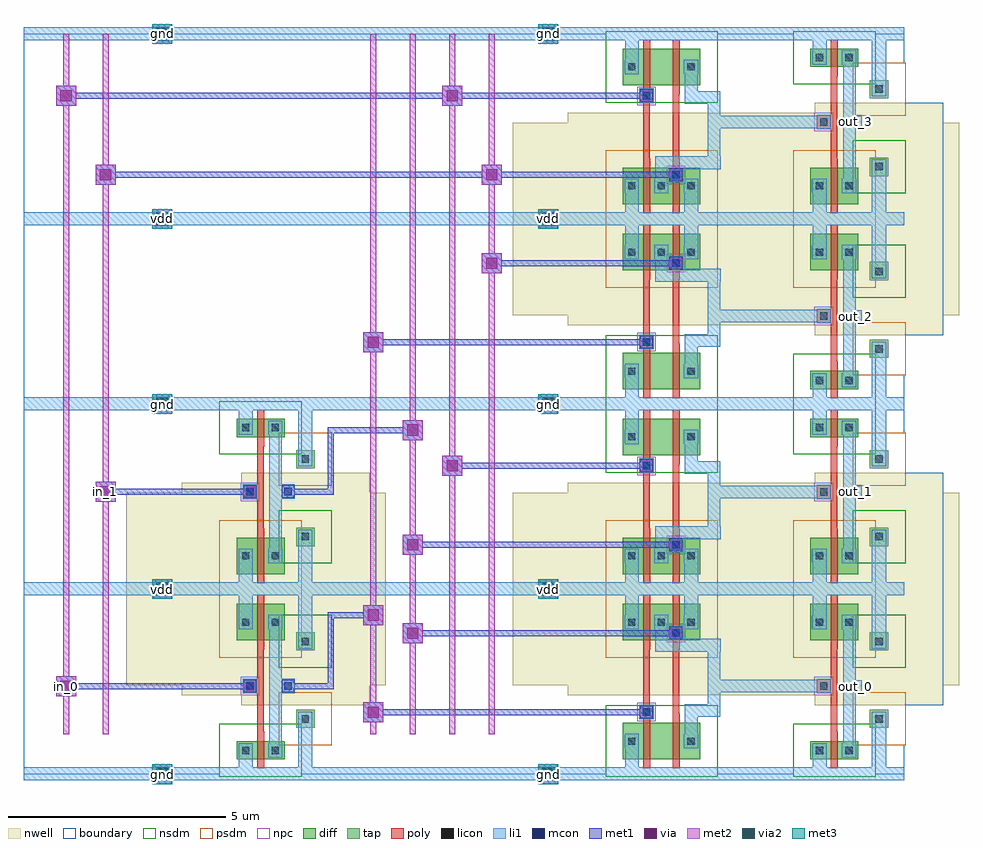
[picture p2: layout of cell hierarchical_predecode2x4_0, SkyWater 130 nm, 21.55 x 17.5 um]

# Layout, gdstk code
import gdstk
lib = gdstk.Library(unit=1e-6, precision=1e-09)
def R(c, l, rs):  # rectangles x0, y0, x1, y1
    for r in rs: c.add(gdstk.rectangle(r[:2], r[2:], *l))
def A(c, l, x, y, w, h, nx, ny, dx, dy):  # array of equal rectangles
    R(c, l, [(x+i*dx, y+j*dy, x+i*dx+w, y+j*dy+h) for i in range(nx) for j in range(ny)])
nwell = (64, 20)
diff = (65, 20)
tap = (65, 44)
poly = (66, 20)
licon = (66, 44)
li1 = (67, 20)
mcon = (67, 44)
met1 = (68, 20)
via = (68, 44)
met2 = (69, 20)
via2 = (69, 44)
met3 = (70, 20)
nsdm = (93, 44)
psdm = (94, 20)
npc = (95, 20)
boundary = (235, 4)

contact_12 = lib.new_cell('contact_12')
R(contact_12, nwell, [(-1.27,-1.27,1.69,1.69)])
R(contact_12, diff, [(0,0,0.42,0.42)])
R(contact_12, licon, [(0.12,0.12,0.29,0.29)])
R(contact_12, li1, [(0.04,0.04,0.37,0.37)])
R(contact_12, psdm, [(-0.4,-0.4,0.82,0.82)])
R(contact_12, boundary, [(-1.27,-1.27,1.69,1.69)])

pmos_m1_w0_840_sli_dli_d = lib.new_cell('pmos_m1_w0_840_sli_dli_da_p')
R(pmos_m1_w0_840_sli_dli_d, nwell, [(-1.27,-1.27,2.37,2.11)])
R(pmos_m1_w0_840_sli_dli_d, diff, [(0,0,1.1,0.84)])
R(pmos_m1_w0_840_sli_dli_d, poly, [(0.47,-0.21,0.62,1.05), (0.47,-0.21,0.63,1.05)])
R(pmos_m1_w0_840_sli_dli_d, li1, [(0.05,0.25,0.37,0.59), (0.73,0.25,1.05,0.59)])
R(pmos_m1_w0_840_sli_dli_d, psdm, [(-0.4,-0.4,1.5,1.24)])
R(pmos_m1_w0_840_sli_dli_d, boundary, [(-1.27,-1.27,2.37,2.11)])
pmos_m1_w0_840_sli_dli_d.add(gdstk.Reference(contact_12, (0,0.21)))
pmos_m1_w0_840_sli_dli_d.add(gdstk.Reference(contact_12, (0.68,0.21)))
pmos_m1_w0_840_sli_dli_d.add(gdstk.Label('G', (0.55,0.42), layer=66, texttype=20))
pmos_m1_w0_840_sli_dli_d.add(gdstk.Label('S', (0.21,0.42), layer=67, texttype=20))
pmos_m1_w0_840_sli_dli_d.add(gdstk.Label('D', (0.89,0.42), layer=67, texttype=20))

contact_11 = lib.new_cell('contact_11')
R(contact_11, diff, [(0,0,0.42,0.42)])
R(contact_11, licon, [(0.12,0.12,0.29,0.29)])
R(contact_11, li1, [(0.04,0.04,0.37,0.37)])
R(contact_11, nsdm, [(-0.4,-0.4,0.82,0.82)])
R(contact_11, boundary, [(-0.4,-0.4,0.82,0.82)])

nmos_m1_w0_420_sli_dli_d = lib.new_cell('nmos_m1_w0_420_sli_dli_da_p')
R(nmos_m1_w0_420_sli_dli_d, diff, [(0,0,1.1,0.42)])
R(nmos_m1_w0_420_sli_dli_d, poly, [(0.47,-0.21,0.62,0.63), (0.47,-0.21,0.63,0.63)])
R(nmos_m1_w0_420_sli_dli_d, li1, [(0.05,0.05,0.37,0.37), (0.73,0.05,1.05,0.37)])
R(nmos_m1_w0_420_sli_dli_d, nsdm, [(-0.4,-0.4,1.5,0.82)])
R(nmos_m1_w0_420_sli_dli_d, boundary, [(-0.4,-0.4,1.5,0.82)])
nmos_m1_w0_420_sli_dli_d.add(gdstk.Reference(contact_11, (0,0)))
nmos_m1_w0_420_sli_dli_d.add(gdstk.Reference(contact_11, (0.68,0)))
nmos_m1_w0_420_sli_dli_d.add(gdstk.Label('G', (0.55,0.21), layer=66, texttype=20))
nmos_m1_w0_420_sli_dli_d.add(gdstk.Label('S', (0.21,0.21), layer=67, texttype=20))
nmos_m1_w0_420_sli_dli_d.add(gdstk.Label('D', (0.89,0.21), layer=67, texttype=20))

contact_13 = lib.new_cell('contact_13')
R(contact_13, nwell, [(-1.27,-1.27,1.69,1.69)])
R(contact_13, tap, [(0,0,0.42,0.42)])
R(contact_13, licon, [(0.12,0.12,0.29,0.29)])
R(contact_13, li1, [(0.04,0.04,0.37,0.37)])
R(contact_13, nsdm, [(-0.4,-0.4,0.82,0.82)])
R(contact_13, boundary, [(-1.27,-1.27,1.69,1.69)])

contact_14 = lib.new_cell('contact_14')
R(contact_14, tap, [(0,0,0.42,0.42)])
R(contact_14, licon, [(0.12,0.12,0.29,0.29)])
R(contact_14, li1, [(0.04,0.04,0.37,0.37)])
R(contact_14, psdm, [(-0.4,-0.4,0.82,0.82)])
R(contact_14, boundary, [(-0.4,-0.4,0.82,0.82)])

contact_15 = lib.new_cell('contact_15')
R(contact_15, poly, [(0,0,0.33,0.33)])
R(contact_15, licon, [(0.08,0.08,0.25,0.25)])
R(contact_15, li1, [(0,0,0.33,0.33)])
R(contact_15, npc, [(-0.05,-0.05,0.38,0.38)])
R(contact_15, boundary, [(-0.05,-0.05,0.38,0.38)])

pinv_2 = lib.new_cell('pinv_2')
R(pinv_2, nwell, [(-1.27,2.04,4.7,6.46)])
R(pinv_2, poly, [(1.74,0.97,1.89,2.87), (1.58,1.86,1.74,2.19)])
R(pinv_2, li1, [(0,-0.14,3.43,0.14), (1.32,-0.14,1.64,0.39), (2.68,0,3.01,1.27), (2.02,0.39,2.31,3.67), (1.41,1.86,1.74,2.18), (2.16,1.88,2.45,2.16), (2.68,3.06,3.01,4.26), (1.32,3.33,1.64,4.4), (0,4.12,3.43,4.4)])
R(pinv_2, boundary, [(0,0,3.43,4.26), (0,0,3.43,4.26)])
pinv_2.add(gdstk.Reference(pmos_m1_w0_840_sli_dli_d, (1.27,3.08)))
pinv_2.add(gdstk.Reference(nmos_m1_w0_420_sli_dli_d, (1.27,0.34)))
pinv_2.add(gdstk.Reference(contact_13, (2.64,2.85)))
pinv_2.add(gdstk.Reference(contact_14, (2.64,1.06)))
pinv_2.add(gdstk.Reference(contact_15, (1.41,1.86)))
pinv_2.add(gdstk.Label('A', (1.575,2.02), layer=67, texttype=20))
pinv_2.add(gdstk.Label('Z', (2.305,2.02), layer=67, texttype=20))
pinv_2.add(gdstk.Label('gnd', (1.715,0), layer=67, texttype=20))
pinv_2.add(gdstk.Label('vdd', (1.715,4.26), layer=67, texttype=20))

pmos_m1_w0_840_sli_dli = lib.new_cell('pmos_m1_w0_840_sli_dli')
R(pmos_m1_w0_840_sli_dli, nwell, [(-1.27,-1.27,2.37,2.11)])
R(pmos_m1_w0_840_sli_dli, diff, [(0,0,1.1,0.84)])
R(pmos_m1_w0_840_sli_dli, poly, [(0.47,-0.21,0.62,1.05), (0.47,-0.21,0.63,1.05)])
R(pmos_m1_w0_840_sli_dli, li1, [(0.05,0.25,0.37,0.59), (0.73,0.25,1.05,0.59)])
R(pmos_m1_w0_840_sli_dli, psdm, [(-0.4,-0.4,1.5,1.24)])
R(pmos_m1_w0_840_sli_dli, boundary, [(-1.27,-1.27,2.37,2.11)])
pmos_m1_w0_840_sli_dli.add(gdstk.Reference(contact_12, (0,0.21)))
pmos_m1_w0_840_sli_dli.add(gdstk.Reference(contact_12, (0.68,0.21)))
pmos_m1_w0_840_sli_dli.add(gdstk.Label('G', (0.55,0.42), layer=66, texttype=20))
pmos_m1_w0_840_sli_dli.add(gdstk.Label('S', (0.21,0.42), layer=67, texttype=20))
pmos_m1_w0_840_sli_dli.add(gdstk.Label('D', (0.89,0.42), layer=67, texttype=20))

nmos_m1_w0_840_sli_dacti = lib.new_cell('nmos_m1_w0_840_sli_dactive')
R(nmos_m1_w0_840_sli_dacti, diff, [(0,0,1.1,0.84), (0.68,0.21,1.1,0.63)])
R(nmos_m1_w0_840_sli_dacti, poly, [(0.47,-0.21,0.62,1.05), (0.47,-0.21,0.63,1.05)])
R(nmos_m1_w0_840_sli_dacti, li1, [(0.05,0.25,0.37,0.59)])
R(nmos_m1_w0_840_sli_dacti, nsdm, [(-0.4,-0.4,1.5,1.24)])
R(nmos_m1_w0_840_sli_dacti, boundary, [(-0.4,-0.4,1.5,1.24)])
nmos_m1_w0_840_sli_dacti.add(gdstk.Reference(contact_11, (0,0.21)))
nmos_m1_w0_840_sli_dacti.add(gdstk.Label('G', (0.55,0.42), layer=66, texttype=20))
nmos_m1_w0_840_sli_dacti.add(gdstk.Label('S', (0.21,0.42), layer=67, texttype=20))
nmos_m1_w0_840_sli_dacti.add(gdstk.Label('D', (0.89,0.42), layer=65, texttype=20))

nmos_m1_w0_840_sactive_d = lib.new_cell('nmos_m1_w0_840_sactive_dli')
R(nmos_m1_w0_840_sactive_d, diff, [(0,0,1.1,0.84), (0,0.21,0.42,0.63)])
R(nmos_m1_w0_840_sactive_d, poly, [(0.47,-0.21,0.62,1.05), (0.47,-0.21,0.63,1.05)])
R(nmos_m1_w0_840_sactive_d, li1, [(0.73,0.25,1.05,0.59)])
R(nmos_m1_w0_840_sactive_d, nsdm, [(-0.4,-0.4,1.5,1.24)])
R(nmos_m1_w0_840_sactive_d, boundary, [(-0.4,-0.4,1.5,1.24)])
nmos_m1_w0_840_sactive_d.add(gdstk.Reference(contact_11, (0.68,0.21)))
nmos_m1_w0_840_sactive_d.add(gdstk.Label('G', (0.55,0.42), layer=66, texttype=20))
nmos_m1_w0_840_sactive_d.add(gdstk.Label('S', (0.21,0.42), layer=65, texttype=20))
nmos_m1_w0_840_sactive_d.add(gdstk.Label('D', (0.89,0.42), layer=67, texttype=20))

pnand2_0 = lib.new_cell('pnand2_0')
R(pnand2_0, nwell, [(-1.27,2.04,5.59,6.46)])
R(pnand2_0, poly, [(1.74,1.26,1.82,1.59), (1.74,1.39,1.89,2.87), (2.42,1.39,2.57,2.87), (2.42,3.08,2.5,3.41)])
R(pnand2_0, li1, [(0,-0.14,4.32,0.14), (1.32,-0.14,1.64,0.59), (2.7,0.93,2.99,1.46), (1.65,1.26,1.98,1.58), (2.7,1.32,2.99,1.61), (2.84,1.32,3.37,1.61), (3.22,1.32,3.51,1.61), (3.22,1.46,3.51,2.96), (2.02,2.82,2.31,3.11), (2.16,2.82,3.37,3.11), (3.22,2.82,3.52,3.11), (2.02,2.96,2.31,3.33), (2.33,3.08,2.66,3.4), (1.32,3.33,1.64,4.4), (2.68,3.33,3,4.4), (0,4.12,4.32,4.4)])
R(pnand2_0, boundary, [(0,0,4.32,4.26), (0,0,4.32,4.26)])
pnand2_0.add(gdstk.Reference(pmos_m1_w0_840_sli_dli, (1.27,3.08)))
pnand2_0.add(gdstk.Reference(pmos_m1_w0_840_sli_dli, (1.95,3.08)))
pnand2_0.add(gdstk.Reference(nmos_m1_w0_840_sli_dacti, (1.27,0.34)))
pnand2_0.add(gdstk.Reference(nmos_m1_w0_840_sactive_d, (1.95,0.34)))
pnand2_0.add(gdstk.Reference(contact_15, (1.65,1.26)))
pnand2_0.add(gdstk.Reference(contact_15, (2.33,3.08)))
pnand2_0.add(gdstk.Label('Z', (3.37,2.965), layer=67, texttype=20))
pnand2_0.add(gdstk.Label('gnd', (2.16,0), layer=67, texttype=20))
pnand2_0.add(gdstk.Label('vdd', (2.16,4.26), layer=67, texttype=20))
pnand2_0.add(gdstk.Label('A', (1.815,1.42), layer=67, texttype=20))
pnand2_0.add(gdstk.Label('B', (2.495,3.24), layer=67, texttype=20))

pinv_1 = lib.new_cell('pinv_1')
R(pinv_1, nwell, [(-1.27,2.04,4.7,6.46)])
R(pinv_1, poly, [(1.74,0.97,1.89,2.87), (1.58,1.86,1.74,2.19)])
R(pinv_1, li1, [(0,-0.14,3.43,0.14), (1.32,-0.14,1.64,0.39), (2.68,0,3.01,1.27), (2.02,0.39,2.31,3.67), (1.41,1.86,1.74,2.18), (2.16,1.88,2.45,2.16), (2.68,3.06,3.01,4.26), (1.32,3.33,1.64,4.4), (0,4.12,3.43,4.4)])
R(pinv_1, boundary, [(0,0,3.43,4.26), (0,0,3.43,4.26)])
pinv_1.add(gdstk.Reference(pmos_m1_w0_840_sli_dli_d, (1.27,3.08)))
pinv_1.add(gdstk.Reference(nmos_m1_w0_420_sli_dli_d, (1.27,0.34)))
pinv_1.add(gdstk.Reference(contact_13, (2.64,2.85)))
pinv_1.add(gdstk.Reference(contact_14, (2.64,1.06)))
pinv_1.add(gdstk.Reference(contact_15, (1.41,1.86)))
pinv_1.add(gdstk.Label('A', (1.575,2.02), layer=67, texttype=20))
pinv_1.add(gdstk.Label('Z', (2.305,2.02), layer=67, texttype=20))
pinv_1.add(gdstk.Label('gnd', (1.715,0), layer=67, texttype=20))
pinv_1.add(gdstk.Label('vdd', (1.715,4.26), layer=67, texttype=20))

pdriver = lib.new_cell('pdriver')
R(pdriver, nwell, [(-1.27,2.04,4.7,6.46)])
R(pdriver, li1, [(0,-0.14,3.43,0.14), (1.41,1.86,1.74,2.18), (2.16,1.88,2.45,2.16), (0,4.12,3.43,4.4)])
R(pdriver, boundary, [(0,0,3.43,4.26), (0,0,3.43,4.26)])
pdriver.add(gdstk.Reference(pinv_1, (0,0)))
pdriver.add(gdstk.Label('Z', (2.305,2.02), layer=67, texttype=20))
pdriver.add(gdstk.Label('A', (1.575,2.02), layer=67, texttype=20))
pdriver.add(gdstk.Label('gnd', (1.715,0), layer=67, texttype=20))
pdriver.add(gdstk.Label('vdd', (1.715,4.26), layer=67, texttype=20))

pand2 = lib.new_cell('pand2')
R(pand2, li1, [(0,-0.14,7.75,0.14), (1.65,1.26,1.98,1.58), (3.22,1.88,3.51,2.17), (3.37,1.88,5.9,2.17), (6.48,1.88,6.77,2.16), (3.22,2.02,3.51,2.96), (2.33,3.08,2.66,3.4), (0,4.12,7.75,4.4)])
R(pand2, boundary, [(0,0,7.75,4.26), (0,0,7.75,4.26)])
pand2.add(gdstk.Reference(pnand2_0, (0,0)))
pand2.add(gdstk.Reference(pdriver, (4.32,0)))
pand2.add(gdstk.Label('Z', (6.625,2.02), layer=67, texttype=20))
pand2.add(gdstk.Label('A', (1.815,1.42), layer=67, texttype=20))
pand2.add(gdstk.Label('B', (2.495,3.24), layer=67, texttype=20))
pand2.add(gdstk.Label('gnd', (3.875,0), layer=67, texttype=20))
pand2.add(gdstk.Label('vdd', (3.875,4.26), layer=67, texttype=20))

contact_16 = lib.new_cell('contact_16')
R(contact_16, li1, [(0,0,0.33,0.33)])
R(contact_16, mcon, [(0.08,0.08,0.25,0.25)])
R(contact_16, met1, [(0.02,0.02,0.31,0.31)])
R(contact_16, boundary, [(0,0,0.33,0.33)])

contact_17 = lib.new_cell('contact_17')
R(contact_17, met1, [(0,0,0.46,0.46)])
R(contact_17, via, [(0.1,0.1,0.36,0.36)])
R(contact_17, met2, [(0,0,0.46,0.46)])
R(contact_17, boundary, [(0,0,0.46,0.46)])

contact_18 = lib.new_cell('contact_18')
R(contact_18, li1, [(0,0,0.33,0.33)])
R(contact_18, mcon, [(0.08,0.08,0.25,0.25)])
R(contact_18, met1, [(0.02,0.02,0.31,0.31)])
R(contact_18, boundary, [(0,0,0.33,0.33)])

contact_6 = lib.new_cell('contact_6')
R(contact_6, met1, [(0,0,0.46,0.46)])
R(contact_6, via, [(0.1,0.1,0.36,0.36)])
R(contact_6, met2, [(0,0,0.46,0.46)])
R(contact_6, boundary, [(0,0,0.46,0.46)])

contact_7 = lib.new_cell('contact_7')
R(contact_7, met2, [(0,0,0.46,0.46)])
R(contact_7, via2, [(0.09,0.09,0.37,0.37)])
R(contact_7, met3, [(0.01,0.01,0.45,0.45)])
R(contact_7, boundary, [(0,0,0.46,0.46)])

hierarchical_predecode2x = lib.new_cell('hierarchical_predecode2x4_0')
R(hierarchical_predecode2x, li1, [(0,-0.14,20.28,0.15), (19.01,1.88,19.3,2.16), (0,4.12,20.28,4.41), (0,4.12,20.28,4.41), (19.01,6.36,19.3,6.64), (0,8.38,20.28,8.67), (0,8.38,20.28,8.67), (19.01,10.4,19.3,10.68), (0,12.64,20.28,12.93), (0,12.64,20.28,12.93), (19.01,14.88,19.3,15.16), (0,16.9,20.28,17.19)])
R(hierarchical_predecode2x, met1, [(8.05,1.35,14.34,1.49), (0.98,1.95,5.22,2.09), (6.09,1.95,7.07,2.09), (7,1.95,7.14,2.09), (7,2.02,7.14,3.66), (8.96,3.17,15.02,3.31), (7,3.59,7.14,3.73), (7.07,3.59,8.05,3.73), (8.96,5.21,15.02,5.35), (1.89,6.43,5.22,6.57), (6.09,6.43,7.07,6.57), (7,6.43,7.14,6.57), (7,6.5,7.14,7.92), (9.87,7.03,14.34,7.17), (7,7.85,7.14,7.99), (7.07,7.85,8.96,7.99), (8.05,9.87,14.34,10.01), (10.78,11.69,15.02,11.83), (1.89,13.73,10.78,13.87), (10.78,13.73,15.02,13.87), (0.98,15.55,9.87,15.69), (9.87,15.55,14.34,15.69)])
A(hierarchical_predecode2x, met2, 7.98, 0.91, 0.14, 16.13, 4, 1, 0.91, 0)
R(hierarchical_predecode2x, met2, [(0.91,0.91,1.05,17.04), (1.82,0.91,1.96,17.04), (0.75,1.79,1.21,2.25), (1.66,6.27,2.12,6.73)])
A(hierarchical_predecode2x, met3, 2.96, -0.23, 0.46, 0.46, 1, 4, 0, 4.26)
A(hierarchical_predecode2x, met3, 11.85, -0.23, 0.46, 0.46, 1, 4, 0, 4.26)
R(hierarchical_predecode2x, met3, [(2.96,12.55,3.42,13.01), (11.85,12.55,12.31,13.01), (2.96,16.81,3.42,17.27), (11.85,16.81,12.31,17.27)])
R(hierarchical_predecode2x, boundary, [(0,0,20.28,17.04)])
hierarchical_predecode2x.add(gdstk.Reference(pinv_2, (3.64,0)))
hierarchical_predecode2x.add(gdstk.Reference(pinv_2, (3.64,8.52), x_reflection=True))
hierarchical_predecode2x.add(gdstk.Reference(pand2, (12.53,0)))
hierarchical_predecode2x.add(gdstk.Reference(pand2, (12.53,8.52), x_reflection=True))
hierarchical_predecode2x.add(gdstk.Reference(pand2, (12.53,8.52)))
hierarchical_predecode2x.add(gdstk.Reference(pand2, (12.53,17.04), x_reflection=True))
hierarchical_predecode2x.add(gdstk.Reference(contact_16, (5.05,1.86)))
hierarchical_predecode2x.add(gdstk.Reference(contact_17, (0.75,1.79)))
hierarchical_predecode2x.add(gdstk.Reference(contact_16, (5.05,6.34)))
hierarchical_predecode2x.add(gdstk.Reference(contact_17, (1.66,6.27)))
hierarchical_predecode2x.add(gdstk.Reference(contact_17, (7.82,1.19)))
hierarchical_predecode2x.add(gdstk.Reference(contact_16, (14.18,1.26)))
hierarchical_predecode2x.add(gdstk.Reference(contact_17, (8.73,3.01)))
hierarchical_predecode2x.add(gdstk.Reference(contact_18, (14.86,3.08)))
hierarchical_predecode2x.add(gdstk.Reference(contact_17, (9.64,6.87)))
hierarchical_predecode2x.add(gdstk.Reference(contact_16, (14.18,6.94)))
hierarchical_predecode2x.add(gdstk.Reference(contact_17, (8.73,5.05)))
hierarchical_predecode2x.add(gdstk.Reference(contact_18, (14.86,5.12)))
hierarchical_predecode2x.add(gdstk.Reference(contact_17, (7.82,9.71)))
hierarchical_predecode2x.add(gdstk.Reference(contact_16, (14.18,9.78)))
hierarchical_predecode2x.add(gdstk.Reference(contact_17, (10.55,11.53)))
hierarchical_predecode2x.add(gdstk.Reference(contact_18, (14.86,11.6)))
hierarchical_predecode2x.add(gdstk.Reference(contact_17, (9.64,15.39)))
hierarchical_predecode2x.add(gdstk.Reference(contact_16, (14.18,15.46)))
hierarchical_predecode2x.add(gdstk.Reference(contact_17, (10.55,13.57)))
hierarchical_predecode2x.add(gdstk.Reference(contact_18, (14.86,13.64)))
hierarchical_predecode2x.add(gdstk.Reference(contact_16, (5.92,1.86)))
hierarchical_predecode2x.add(gdstk.Reference(contact_17, (7.82,3.43)))
hierarchical_predecode2x.add(gdstk.Reference(contact_16, (5.92,6.34)))
hierarchical_predecode2x.add(gdstk.Reference(contact_17, (8.73,7.69)))
hierarchical_predecode2x.add(gdstk.Reference(contact_6, (0.75,15.39)))
hierarchical_predecode2x.add(gdstk.Reference(contact_6, (9.64,15.39)))
hierarchical_predecode2x.add(gdstk.Reference(contact_6, (1.66,13.57)))
hierarchical_predecode2x.add(gdstk.Reference(contact_6, (10.55,13.57)))
hierarchical_predecode2x.add(gdstk.Reference(contact_16, (3.02,4.1)))
hierarchical_predecode2x.add(gdstk.Reference(contact_6, (2.96,4.03)))
hierarchical_predecode2x.add(gdstk.Reference(contact_7, (2.96,4.03)))
hierarchical_predecode2x.add(gdstk.Reference(contact_16, (11.92,4.1)))
hierarchical_predecode2x.add(gdstk.Reference(contact_6, (11.85,4.03)))
hierarchical_predecode2x.add(gdstk.Reference(contact_7, (11.85,4.03)))
hierarchical_predecode2x.add(gdstk.Reference(contact_16, (3.02,-0.16)))
hierarchical_predecode2x.add(gdstk.Reference(contact_6, (2.96,-0.23)))
hierarchical_predecode2x.add(gdstk.Reference(contact_7, (2.96,-0.23)))
hierarchical_predecode2x.add(gdstk.Reference(contact_16, (11.92,-0.16)))
hierarchical_predecode2x.add(gdstk.Reference(contact_6, (11.85,-0.23)))
hierarchical_predecode2x.add(gdstk.Reference(contact_7, (11.85,-0.23)))
hierarchical_predecode2x.add(gdstk.Reference(contact_16, (3.02,4.1)))
hierarchical_predecode2x.add(gdstk.Reference(contact_6, (2.96,4.03)))
hierarchical_predecode2x.add(gdstk.Reference(contact_7, (2.96,4.03)))
hierarchical_predecode2x.add(gdstk.Reference(contact_16, (11.92,4.1)))
hierarchical_predecode2x.add(gdstk.Reference(contact_6, (11.85,4.03)))
hierarchical_predecode2x.add(gdstk.Reference(contact_7, (11.85,4.03)))
hierarchical_predecode2x.add(gdstk.Reference(contact_16, (3.02,8.36)))
hierarchical_predecode2x.add(gdstk.Reference(contact_6, (2.96,8.29)))
hierarchical_predecode2x.add(gdstk.Reference(contact_7, (2.96,8.29)))
hierarchical_predecode2x.add(gdstk.Reference(contact_16, (11.92,8.36)))
hierarchical_predecode2x.add(gdstk.Reference(contact_6, (11.85,8.29)))
hierarchical_predecode2x.add(gdstk.Reference(contact_7, (11.85,8.29)))
hierarchical_predecode2x.add(gdstk.Reference(contact_16, (3.02,12.62)))
hierarchical_predecode2x.add(gdstk.Reference(contact_6, (2.96,12.55)))
hierarchical_predecode2x.add(gdstk.Reference(contact_7, (2.96,12.55)))
hierarchical_predecode2x.add(gdstk.Reference(contact_16, (11.92,12.62)))
hierarchical_predecode2x.add(gdstk.Reference(contact_6, (11.85,12.55)))
hierarchical_predecode2x.add(gdstk.Reference(contact_7, (11.85,12.55)))
hierarchical_predecode2x.add(gdstk.Reference(contact_16, (3.02,8.36)))
hierarchical_predecode2x.add(gdstk.Reference(contact_6, (2.96,8.29)))
hierarchical_predecode2x.add(gdstk.Reference(contact_7, (2.96,8.29)))
hierarchical_predecode2x.add(gdstk.Reference(contact_16, (11.92,8.36)))
hierarchical_predecode2x.add(gdstk.Reference(contact_6, (11.85,8.29)))
hierarchical_predecode2x.add(gdstk.Reference(contact_7, (11.85,8.29)))
hierarchical_predecode2x.add(gdstk.Reference(contact_16, (3.02,12.62)))
hierarchical_predecode2x.add(gdstk.Reference(contact_6, (2.96,12.55)))
hierarchical_predecode2x.add(gdstk.Reference(contact_7, (2.96,12.55)))
hierarchical_predecode2x.add(gdstk.Reference(contact_16, (11.92,12.62)))
hierarchical_predecode2x.add(gdstk.Reference(contact_6, (11.85,12.55)))
hierarchical_predecode2x.add(gdstk.Reference(contact_7, (11.85,12.55)))
hierarchical_predecode2x.add(gdstk.Reference(contact_16, (3.02,16.88)))
hierarchical_predecode2x.add(gdstk.Reference(contact_6, (2.96,16.81)))
hierarchical_predecode2x.add(gdstk.Reference(contact_7, (2.96,16.81)))
hierarchical_predecode2x.add(gdstk.Reference(contact_16, (11.92,16.88)))
hierarchical_predecode2x.add(gdstk.Reference(contact_6, (11.85,16.81)))
hierarchical_predecode2x.add(gdstk.Reference(contact_7, (11.85,16.81)))
hierarchical_predecode2x.add(gdstk.Label('in_0', (0.98,2.02), layer=69, texttype=20))
hierarchical_predecode2x.add(gdstk.Label('in_1', (1.89,6.5), layer=69, texttype=20))
hierarchical_predecode2x.add(gdstk.Label('out_0', (19.155,2.02), layer=67, texttype=20))
hierarchical_predecode2x.add(gdstk.Label('out_1', (19.155,6.5), layer=67, texttype=20))
hierarchical_predecode2x.add(gdstk.Label('out_2', (19.155,10.54), layer=67, texttype=20))
hierarchical_predecode2x.add(gdstk.Label('out_3', (19.155,15.02), layer=67, texttype=20))
hierarchical_predecode2x.add(gdstk.Label('vdd', (12.08,12.78), layer=70, texttype=20))
hierarchical_predecode2x.add(gdstk.Label('vdd', (3.19,12.78), layer=70, texttype=20))
hierarchical_predecode2x.add(gdstk.Label('vdd', (3.19,12.78), layer=70, texttype=20))
hierarchical_predecode2x.add(gdstk.Label('vdd', (12.08,4.26), layer=70, texttype=20))
hierarchical_predecode2x.add(gdstk.Label('vdd', (3.19,4.26), layer=70, texttype=20))
hierarchical_predecode2x.add(gdstk.Label('vdd', (12.08,12.78), layer=70, texttype=20))
hierarchical_predecode2x.add(gdstk.Label('gnd', (3.19,17.04), layer=70, texttype=20))
hierarchical_predecode2x.add(gdstk.Label('gnd', (3.19,0), layer=70, texttype=20))
hierarchical_predecode2x.add(gdstk.Label('gnd', (12.08,17.04), layer=70, texttype=20))
hierarchical_predecode2x.add(gdstk.Label('gnd', (3.19,8.52), layer=70, texttype=20))
hierarchical_predecode2x.add(gdstk.Label('gnd', (12.08,8.52), layer=70, texttype=20))
hierarchical_predecode2x.add(gdstk.Label('gnd', (12.08,0), layer=70, texttype=20))

lib.write_gds('hierarchical_predecode2x4_0.gds')
